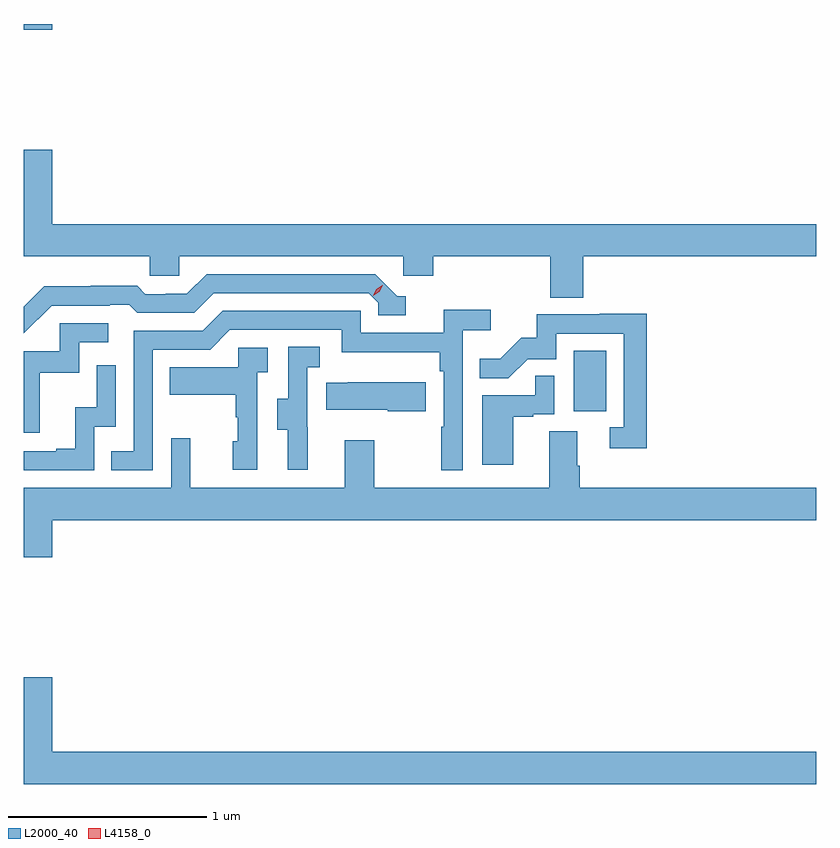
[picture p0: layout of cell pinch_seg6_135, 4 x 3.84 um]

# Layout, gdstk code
import gdstk
lib = gdstk.Library(unit=1e-6, precision=1e-09)
def R(c, l, rs):  # rectangles x0, y0, x1, y1
    for r in rs: c.add(gdstk.rectangle(r[:2], r[2:], *l))
def P(c, l, *ps):  # polygons
    for p in ps: c.add(gdstk.Polygon(p, *l))
L2000_40 = (2000, 40)
L4158_0 = (4158, 0)

pinch_seg6_135 = lib.new_cell('pinch_seg6_135')
R(pinch_seg6_135, L2000_40, [(1006.964,918.582,1007.128,918.889), (1004.188,920.508,1004.332,920.538)])
P(pinch_seg6_135, L2000_40, [(1007.012,919.364),(1008.188,919.364),(1008.188,919.528),(1004.332,919.528),(1004.332,919.903),(1004.188,919.903),(1004.188,919.364),(1004.823,919.364),(1004.823,919.266),(1004.973,919.266),(1004.973,919.364),(1006.104,919.364),(1006.104,919.266),(1006.256,919.266),(1006.256,919.364),(1006.847,919.364),(1006.847,919.156),(1007.012,919.156)],
  [(1004.328,919.116),(1004.621,919.116),(1004.621,919.119),(1004.72,919.119),(1004.759,919.08),(1005.048,919.08),(1005.147,919.179),(1005.93,919.179),(1005.978,919.131),(1005.978,919.068),(1006.117,919.068),(1006.117,919.164),(1006.074,919.164),(1005.963,919.275),(1005.11,919.275),(1005.011,919.176),(1004.904,919.176),(1004.904,919.173),(1004.801,919.173),(1004.759,919.216),(1004.526,919.216),(1004.526,919.213),(1004.29,919.213),(1004.188,919.111),(1004.188,918.976)],
  [(1004.838,918.894),(1005.129,918.894),(1005.228,918.993),(1005.792,918.993),(1005.792,918.881),(1006.288,918.881),(1006.288,918.785),(1006.308,918.785),(1006.308,918.503),(1006.296,918.503),(1006.296,918.285),(1006.404,918.285),(1006.404,918.992),(1006.546,918.992),(1006.546,919.094),(1006.307,919.094),(1006.307,918.978),(1005.888,918.978),(1005.888,919.089),(1005.191,919.089),(1005.092,918.99),(1004.742,918.99),(1004.742,918.381),(1004.629,918.381),(1004.629,918.285),(1004.838,918.285)],
  [(1007.333,919.076),(1007.095,919.076),(1007.095,919.071),(1006.777,919.071),(1006.777,918.954),(1006.7,918.954),(1006.593,918.847),(1006.489,918.847),(1006.489,918.748),(1006.633,918.748),(1006.731,918.846),(1006.875,918.846),(1006.875,918.975),(1007.217,918.975),(1007.217,918.501),(1007.145,918.501),(1007.145,918.396),(1007.333,918.396)],
  [(1004.267,918.777),(1004.466,918.777),(1004.466,918.93),(1004.614,918.93),(1004.614,919.026),(1004.37,919.026),(1004.37,918.885),(1004.188,918.885),(1004.188,918.474),(1004.267,918.474)],
  [(1005.62,918.501),(1005.618,918.501),(1005.618,918.805),(1005.682,918.805),(1005.682,918.908),(1005.522,918.908),(1005.522,918.645),(1005.467,918.645),(1005.467,918.49),(1005.521,918.49),(1005.521,918.288),(1005.62,918.288)],
  [(1005.366,918.779),(1005.418,918.779),(1005.418,918.903),(1005.27,918.903),(1005.27,918.805),(1004.923,918.805),(1004.923,918.665),(1005.258,918.665),(1005.258,918.551),(1005.268,918.551),(1005.268,918.432),(1005.242,918.432),(1005.242,918.288),(1005.366,918.288)],
  [(1004.544,918.504),(1004.652,918.504),(1004.652,918.814),(1004.556,918.814),(1004.556,918.602),(1004.447,918.602),(1004.447,918.394),(1004.351,918.394),(1004.351,918.381),(1004.188,918.381),(1004.188,918.285),(1004.544,918.285)],
  [(1006.66,918.555),(1006.76,918.555),(1006.76,918.567),(1006.866,918.567),(1006.866,918.761),(1006.771,918.761),(1006.771,918.663),(1006.502,918.663),(1006.502,918.312),(1006.66,918.312)],
  [(1006.216,918.73),(1005.823,918.73),(1005.823,918.727),(1005.715,918.727),(1005.715,918.59),(1006.025,918.59),(1006.025,918.583),(1006.216,918.583)],
  [(1004.332,918.032),(1008.188,918.032),(1008.188,918.196),(1006.994,918.196),(1006.994,918.308),(1006.981,918.308),(1006.981,918.482),(1006.841,918.482),(1006.841,918.196),(1005.957,918.196),(1005.957,918.436),(1005.809,918.436),(1005.809,918.196),(1005.029,918.196),(1005.029,918.445),(1004.931,918.445),(1004.931,918.196),(1004.188,918.196),(1004.188,917.844),(1004.332,917.844)],
  [(1008.188,916.864),(1004.332,916.864),(1004.332,917.239),(1004.188,917.239),(1004.188,916.7),(1008.188,916.7)])
P(pinch_seg6_135, L4158_0, [(1005.953,919.166),(1005.953,919.166),(1005.968,919.199),(1005.998,919.219),(1005.999,919.219),(1005.999,919.219),(1005.983,919.186),(1005.953,919.166)])

lib.write_gds('pinch_seg6_135.gds')
